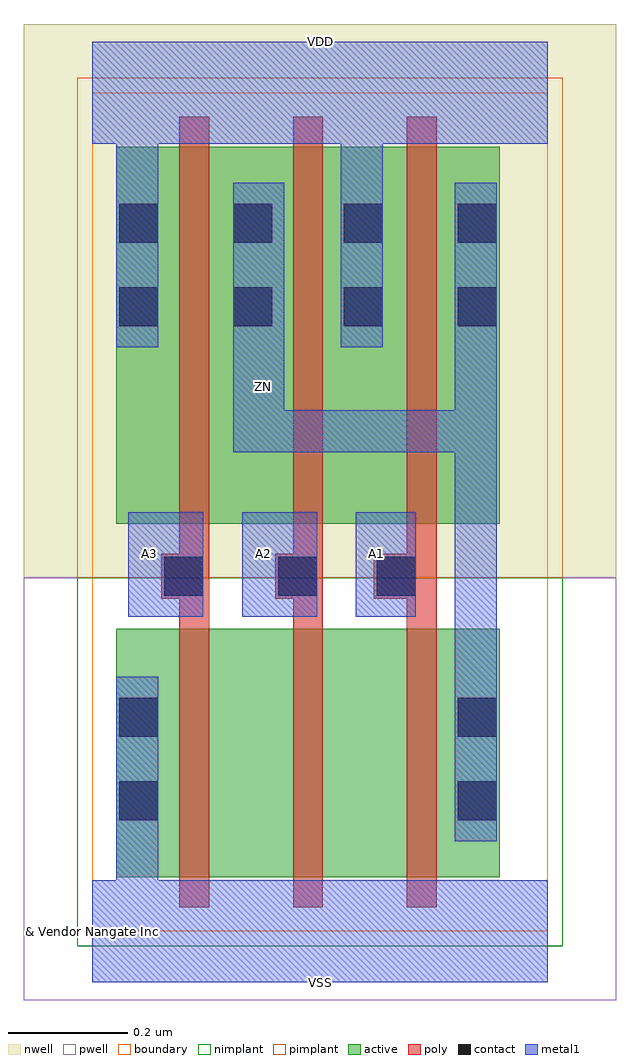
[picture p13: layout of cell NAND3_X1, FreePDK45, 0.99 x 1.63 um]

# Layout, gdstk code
import gdstk
lib = gdstk.Library(unit=1e-6, precision=1e-09)
def R(c, l, rs):  # rectangles x0, y0, x1, y1
    for r in rs: c.add(gdstk.rectangle(r[:2], r[2:], *l))
def P(c, l, *ps):  # polygons
    for p in ps: c.add(gdstk.Polygon(p, *l))
active = (1, 0)
pwell = (2, 0)
nwell = (3, 0)
nimplant = (4, 0)
pimplant = (5, 0)
poly = (9, 0)
contact = (10, 0)
metal1 = (11, 0)
boundary = (235, 0)

nand3_x1 = lib.new_cell('NAND3_X1')
R(nand3_x1, active, [(0.04,0.09,0.68,0.505), (0.04,0.68,0.68,1.31)])
R(nand3_x1, pwell, [(-0.115,-0.115,0.875,0.59)])
R(nand3_x1, nwell, [(-0.115,0.59,0.875,1.515)])
R(nand3_x1, nimplant, [(-0.025,-0.025,0.785,0.59)])
R(nand3_x1, pimplant, [(-0.025,0.59,0.785,1.425)])
P(nand3_x1, poly, [(0.115,0.555),(0.145,0.555),(0.145,0.04),(0.195,0.04),(0.195,1.36),(0.145,1.36),(0.145,0.63),(0.115,0.63)],
  [(0.305,0.555),(0.335,0.555),(0.335,0.04),(0.385,0.04),(0.385,1.36),(0.335,1.36),(0.335,0.63),(0.305,0.63)],
  [(0.47,0.555),(0.525,0.555),(0.525,0.04),(0.575,0.04),(0.575,1.36),(0.525,1.36),(0.525,0.63),(0.47,0.63)])
R(nand3_x1, contact, [(0.045,0.185,0.11,0.25), (0.61,0.185,0.675,0.25), (0.045,0.325,0.11,0.39), (0.61,0.325,0.675,0.39), (0.12,0.56,0.185,0.625), (0.31,0.56,0.375,0.625), (0.475,0.56,0.54,0.625), (0.045,1.01,0.11,1.075), (0.235,1.01,0.3,1.075), (0.42,1.01,0.485,1.075), (0.61,1.01,0.675,1.075), (0.045,1.15,0.11,1.215), (0.235,1.15,0.3,1.215), (0.42,1.15,0.485,1.215), (0.61,1.15,0.675,1.215)])
R(nand3_x1, metal1, [(0.06,0.525,0.185,0.7), (0.25,0.525,0.375,0.7), (0.44,0.525,0.54,0.7)])
P(nand3_x1, metal1, [(0.235,0.8),(0.605,0.8),(0.605,0.15),(0.675,0.15),(0.675,1.25),(0.605,1.25),(0.605,0.87),(0.32,0.87),(0.32,1.25),(0.235,1.25)],
  [(0,-0.085),(0.76,-0.085),(0.76,0.085),(0.11,0.085),(0.11,0.425),(0.04,0.425),(0.04,0.085),(0,0.085)],
  [(0,1.315),(0.04,1.315),(0.04,0.975),(0.11,0.975),(0.11,1.315),(0.415,1.315),(0.415,0.975),(0.485,0.975),(0.485,1.315),(0.76,1.315),(0.76,1.485),(0,1.485)])
R(nand3_x1, boundary, [(0,0,0.76,1.4)])
nand3_x1.add(gdstk.Label('A1', (0.475,0.63), layer=11, texttype=0))
nand3_x1.add(gdstk.Label('A2', (0.285,0.63), layer=11, texttype=0))
nand3_x1.add(gdstk.Label('A3', (0.095,0.63), layer=11, texttype=0))
nand3_x1.add(gdstk.Label('VDD', (0.38,1.485), layer=11, texttype=0))
nand3_x1.add(gdstk.Label('VSS', (0.38,-0.085), layer=11, texttype=0))
nand3_x1.add(gdstk.Label('ZN', (0.285,0.91), layer=11, texttype=0))
nand3_x1.add(gdstk.Label('& Vendor Nangate Inc', (0,0), layer=63, texttype=63))
nand3_x1.add(gdstk.Label('& Product Open Cell Library', (0,0), layer=63, texttype=63))
nand3_x1.add(gdstk.Label('& Version 2010_12', (0,0), layer=63, texttype=63))
nand3_x1.add(gdstk.Label('& Instance NAND3_X1', (0,0), layer=63, texttype=63))

lib.write_gds('NAND3_X1.gds')
